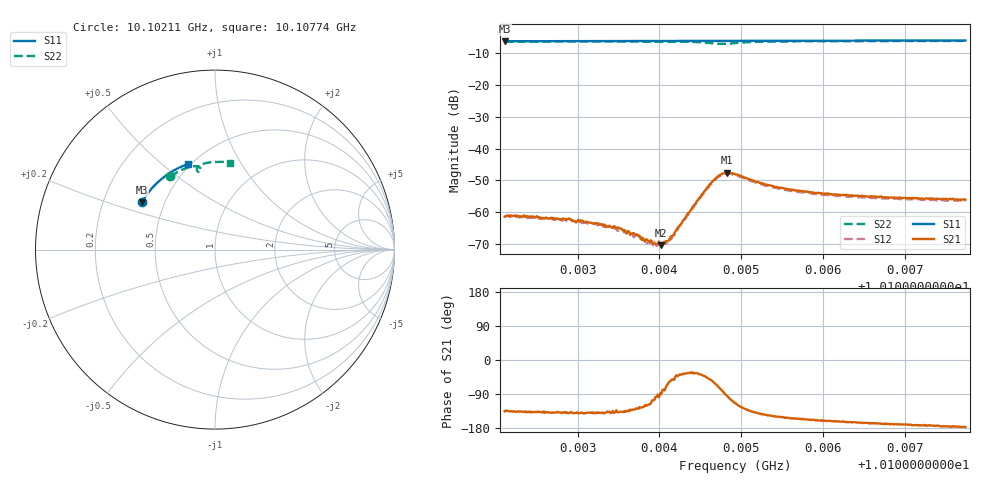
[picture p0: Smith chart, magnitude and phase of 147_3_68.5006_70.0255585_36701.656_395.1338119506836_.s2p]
#  HZ  S  RI  R  50.00
! Rohde & Schwarz Vector Network Analyzer
! Rohde-Schwarz,ZNB20-2Port,1311601062101988,3.16
! Created: UTC 3/20/2024, 4:55:08 PM
! freq[Hz]  re:S11  im:S11  re:S21  im:S21  re:S12  im:S12  re:S22  im:S22
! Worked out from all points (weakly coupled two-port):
!   401 points, 10.10211 GHz to 10.10774 GHz, reference 50 ohm
!   highest |S21| = -47.58 dB at 10.10482 GHz (marker M1); lowest = -70.5 dB at 10.10402 GHz (marker M2)
!   lowest |S11| = -6.3 dB at 10.10211 GHz (marker M3), VSWR 2.89, Z = 18.6 + j12.9 ohm
!   |S11| at or under -10 dB: nowhere
!   |S22| runs from -7.1 to -6.2 dB; largest |S21 - S12| = 0.00041
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1.010211e10  -0.4073 0.2642  -0.000606 -0.000599  -0.000559 -0.000658  -0.2487 0.4081
1.0102476e10  -0.3958 0.2832  -0.000596 -0.000565  -0.000538 -0.000593  -0.2286 0.4211
1.0103052e10  -0.3757 0.3121  -0.000548 -0.00049  -0.000462 -0.00049  -0.195 0.4391
1.0103291e10  -0.3668 0.3235  -0.000482 -0.000409  -0.000445 -0.000447  -0.1803 0.446
1.0103516e10  -0.3582 0.3342  -0.00041 -0.000378  -0.000352 -0.000385  -0.1661 0.4518
1.0103727e10  -0.3497 0.3438  -0.000275 -0.000351  -0.000228 -0.000359  -0.152 0.457
1.0103798e10  -0.3469 0.347  -0.000219 -0.000324  -0.00017 -0.000344  -0.1472 0.4585
1.0103868e10  -0.3438 0.35  -0.000163 -0.000313  -0.000116 -0.000316  -0.1422 0.46
1.0103938e10  -0.3409 0.3532  -8.32e-05 -0.000308  -3.94e-05 -0.000342  -0.1372 0.4612
1.0103994e10  -0.3386 0.3557  -5.12e-05 -0.000342  2.59e-05 -0.000311  -0.1329 0.4623
1.0104023e10  -0.3375 0.3571  -6.83e-07 -0.0003  5.6e-05 -0.000286  -0.1309 0.4626
1.0104107e10  -0.3339 0.3605  0.000173 -0.000324  0.000177 -0.000278  -0.1241 0.4639
1.0104149e10  -0.3321 0.3625  0.000261 -0.000329  0.000244 -0.000296  -0.1207 0.4644
1.0104473e10  -0.3178 0.376  0.00127 -0.000917  0.0013 -0.000784  -0.0909 0.4612
1.0104641e10  -0.3101 0.3826  0.00172 -0.00244  0.00183 -0.00216  -0.0786 0.4459
1.010474e10  -0.3057 0.3867  0.000988 -0.0037  0.00125 -0.00348  -0.0833 0.4344
1.0104824e10  -0.3019 0.3898  -0.000322 -0.00416  1.55e-05 -0.00401  -0.0939 0.4335
1.0104923e10  -0.2976 0.3936  -0.0016 -0.00363  -0.00122 -0.00361  -0.1008 0.4432
1.0105373e10  -0.2759 0.4106  -0.00219 -0.00139  -0.00195 -0.00149  -0.0742 0.4746
1.0105865e10  -0.2515 0.4275  -0.00189 -0.000766  -0.00175 -0.000878  -0.0386 0.4843
1.0106807e10  -0.2017 0.4555  -0.00166 -0.000326  -0.00157 -0.00047  0.0247 0.4888
1.0107735e10  -0.1498 0.4771  -0.00157 -8.09e-05  -0.00146 -0.000224  0.0846 0.4845
